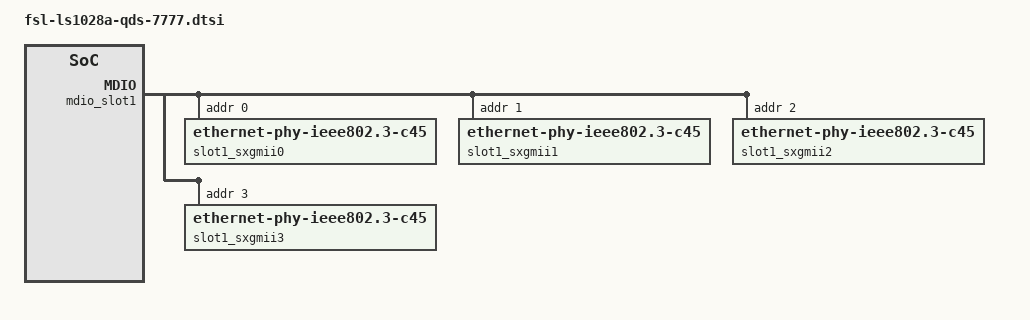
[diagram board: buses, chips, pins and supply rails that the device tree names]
// SPDX-License-Identifier: (GPL-2.0+ OR MIT)
/*
 * Device Tree Include file for LS1028A QDS board, serdes 9999
 *
 * Copyright 2019 NXP
 *
 */

&mdio_slot1 {
	slot1_sxgmii0: ethernet-phy@0 {
		reg = <0x0>;
		compatible = "ethernet-phy-ieee802.3-c45";
	};

	slot1_sxgmii1: ethernet-phy@1 {
		reg = <0x1>;
		compatible = "ethernet-phy-ieee802.3-c45";
	};

	slot1_sxgmii2: ethernet-phy@2 {
		reg = <0x2>;
		compatible = "ethernet-phy-ieee802.3-c45";
	};

	slot1_sxgmii3: ethernet-phy@3 {
		reg = <0x3>;
		compatible = "ethernet-phy-ieee802.3-c45";
	};
};

/* l2switch ports */
&mscc_felix_ports {
	port@0 {
		status = "okay";
		phy-handle = <&slot1_sxgmii0>;
		phy-mode = "2500base-x";
	};

	port@1 {
		status = "okay";
		phy-handle = <&slot1_sxgmii1>;
		phy-mode = "2500base-x";
	};

	port@2 {
		status = "okay";
		phy-handle = <&slot1_sxgmii2>;
		phy-mode = "2500base-x";
	};

	port@3 {
		status = "okay";
		phy-handle = <&slot1_sxgmii3>;
		phy-mode = "2500base-x";
	};
};
